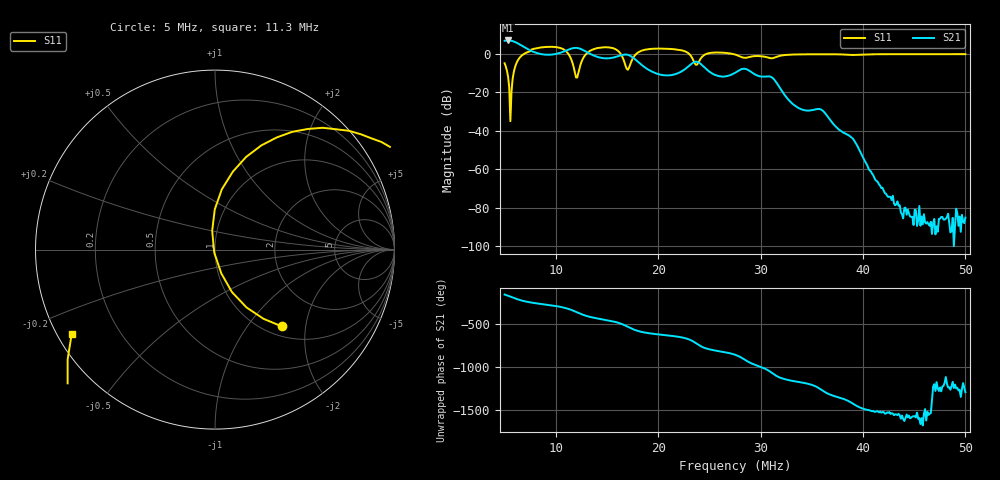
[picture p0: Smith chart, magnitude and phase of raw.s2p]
! S11/S21 only; reverse parameters are placeholders. Device calibration unverified.
! NanoVNA F V2 profile | COM3 | 2026-09-08T12:34:23.0744745-04:00 | device calibration unverified
# HZ S RI R 50
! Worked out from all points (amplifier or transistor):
!   401 points, 5 MHz to 50 MHz, reference 50 ohm
!   highest |S21| = 6.9 dB at 5.338 MHz (marker M1)
!   |S21| within 3 dB of that: start of sweep to 6.766 MHz
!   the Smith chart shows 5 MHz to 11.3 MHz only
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5000000  0.371 -0.4274  -2.024 -0.7893  0 0  0 0
5337500  0.0943 -0.2366  -2.194 -0.2818  0 0  0 0
6237500  0.2576 0.5803  -1.591 1.026  0 0  0 0
7025000  0.8124 0.6428  -0.736 1.221  0 0  0 0
7250000  0.9268 0.6  -0.5709 1.192  0 0  0 0
7812500  0.5012 -1.237  -0.2711 1.091  0 0  0 0
8937500  0.1158 -1.492  0.0752 0.9468  0 0  0 0
1.11875e7  -0.8211 -0.613  1.032 0.7339  0 0  0 0
1.25375e7  0.6384 0.0764  1.131 -0.6307  0 0  0 0
1.355e7  1.051 -0.7105  0.3958 -0.8505  0 0  0 0
1.5125e7  0.5425 -1.358  -0.1329 -0.7501  0 0  0 0
1.65875e7  -0.5815 -0.4477  -0.8111 -0.4789  0 0  0 0
1.74875e7  0.5053 0.5248  -0.7623 0.2792  0 0  0 0
2.0075e7  1.259 -0.5171  -0.0297 0.2908  0 0  0 0
2.26625e7  0.7773 -0.8364  0.2522 0.3197  0 0  0 0
2.3675e7  0.4111 -0.3137  0.6204 -0.0535  0 0  0 0
2.75e7  0.7687 -0.5656  -0.2454 -0.2053  0 0  0 0
2.91875e7  0.7585 -0.3935  -0.1335 0.2928  0 0  0 0
3.50375e7  0.6994 -0.6668  -0.0235 -0.0251  0 0  0 0
3.8975e7  0.5353 -0.7603  0.00625 0.00141  0 0  0 0
4.2575e7  0.444 -0.8664  5e-06 -0.000196  0 0  0 0
5e7  0.1619 -0.963  -4.5e-05 3.4e-05  0 0  0 0
